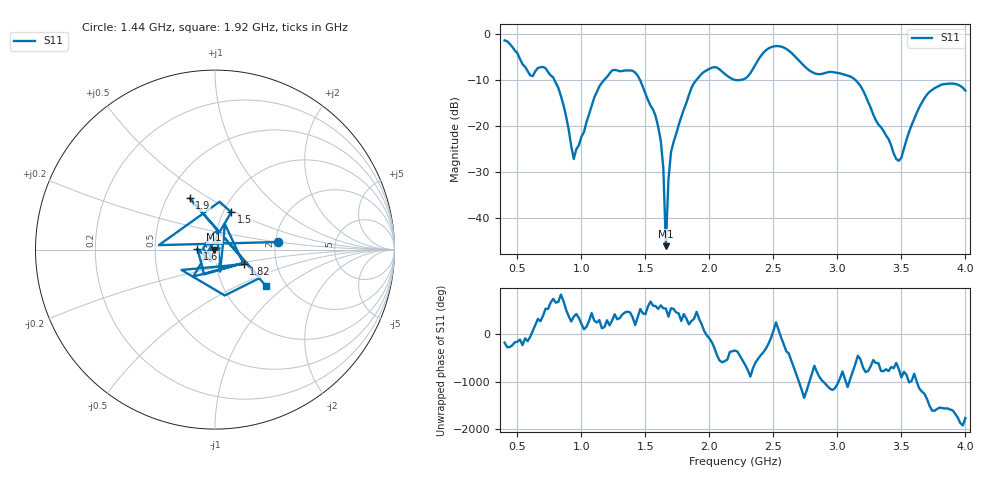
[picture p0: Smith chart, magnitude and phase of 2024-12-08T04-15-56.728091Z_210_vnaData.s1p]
!Created with skrf (http://scikit-rf.org).
# Hz S RI R 50.0
!freq ReS11 ImS11
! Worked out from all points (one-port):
!   181 points, 400 MHz to 4 GHz, reference 50 ohm
!   lowest |S11| = -46.0 dB at 1.66 GHz (marker M1), VSWR 1.01, Z = 49.5 - j0.0512 ohm
!   |S11| at or under -10 dB: 790 MHz to 1.176 GHz (386.2 MHz wide, 39.3 % of centre); 1.459 GHz to 1.897 GHz (438.1 MHz wide, 26.1 % of centre); 3.142 GHz to end of sweep
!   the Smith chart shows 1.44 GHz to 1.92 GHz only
!   S11 on the Smith chart (normalised r, x): 1.44 GHz: 2.08, +0.20; 1.5 GHz: 1.09, +0.48; 1.6 GHz: 0.82, +0.01; 1.82 GHz: 1.36, -0.23; 1.9 GHz: 0.65, +0.41; 1.92 GHz: 1.58, -0.72
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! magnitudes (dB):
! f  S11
! 400 MHz  -1.4
! 600 MHz  -8.9
! 720 MHz  -7.4
! 860 MHz  -15.4
! 940 MHz  -27.1
! 1.14 GHz  -11.3
! 1.3 GHz  -8.1
! 1.44 GHz  -9.0
! 1.5 GHz  -12.9
! 1.6 GHz  -20.2
! 1.64 GHz  -29.0
! 1.66 GHz  -46.0
! 1.68 GHz  -31.5
! 1.7 GHz  -25.6
! 1.76 GHz  -19.7
! 1.82 GHz  -14.9
! 1.9 GHz  -9.9
! 1.92 GHz  -9.2
! 2.04 GHz  -7.1
! 2.2 GHz  -10.0
! 2.48 GHz  -2.8
! 2.66 GHz  -4.6
! 2.82 GHz  -8.5
! 3.1 GHz  -9.2
! 3.46 GHz  -27.1
! 3.56 GHz  -21.2
! 3.74 GHz  -12.1
! 4 GHz  -12.3
